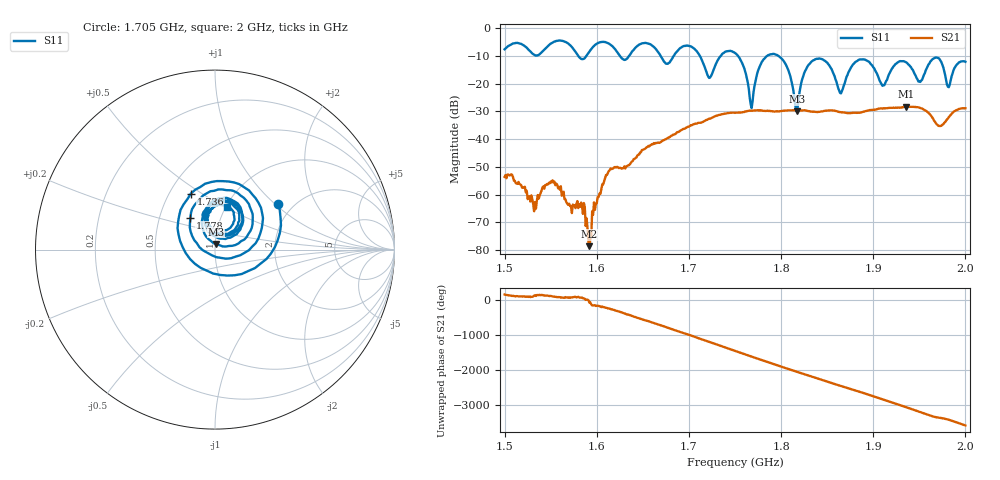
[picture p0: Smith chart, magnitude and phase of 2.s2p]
! NanoVNA-App by SYSJOINT et al v1.1.209 (+OD18)
! Date: 2026-01-21 14:41:42
! Start: 1,5GHz Stop: 2GHz Points: 501
! S-Parameter data: F S11 S21 S12 S22
# Hz S RI R 50
!  Frequency  S11_Real  S11_Imag  S21_Real  S21_Imag  S12_Real  S12_Imag  S22_Real  S22_Imag
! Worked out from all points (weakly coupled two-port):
!   501 points, 1.5 GHz to 2 GHz, reference 50 ohm
!   highest |S21| = -28.26 dB at 1.936 GHz (marker M1); lowest = -78.6 dB at 1.592 GHz (marker M2)
!   lowest |S11| = -30.0 dB at 1.817 GHz (marker M3), VSWR 1.06, Z = 50.5 + j3.13 ohm
!   |S11| at or under -10 dB: 1.712 GHz to 1.735 GHz (22.84 MHz wide, 1.33 % of centre); 1.753 GHz to 1.785 GHz (31.84 MHz wide, 1.8 % of centre); 1.797 GHz to end of sweep (the widest 3 of 6)
!   S12 and S22 are empty: the file has one direction only
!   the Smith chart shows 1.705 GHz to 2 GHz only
!   S11 on the Smith chart (normalised r, x): 1.705 GHz: 1.66, +1.05; 1.736 GHz: 0.64, +0.45; 1.778 GHz: 0.72, +0.27; 2 GHz: 1.01, +0.51
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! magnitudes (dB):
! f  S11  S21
! 1.5 GHz  -7.7  -53.6
! 1.584 GHz  -11.2  -64.1
! 1.592 GHz  -8.5  -78.6
! 1.613 GHz  -5.6  -51.5
! 1.667 GHz  -8.8  -41.3
! 1.705 GHz  -7.3  -34.6
! 1.722 GHz  -18.0  -32.7
! 1.736 GHz  -9.4  -31.0
! 1.75 GHz  -9.0  -30.6
! 1.768 GHz  -28.8  -29.8
! 1.778 GHz  -13.0  -29.7
! 1.801 GHz  -11.1  -29.8
! 1.817 GHz  -30.0  -29.7
! 1.834 GHz  -11.8  -30.2
! 1.864 GHz  -23.4  -30.3
! 1.885 GHz  -11.4  -30.5
! 1.917 GHz  -16.7  -28.8
! 1.936 GHz  -12.4  -28.3
! 1.951 GHz  -19.4  -28.8
! 1.97 GHz  -10.7  -35.0
! 1.982 GHz  -21.3  -32.1
! 2 GHz  -12.1  -28.9
